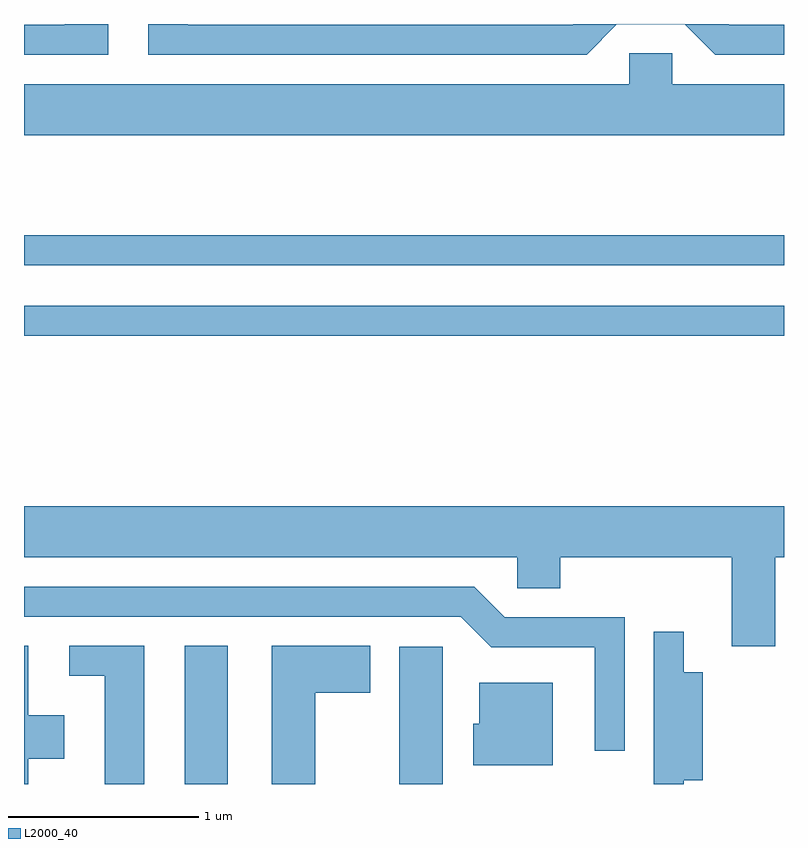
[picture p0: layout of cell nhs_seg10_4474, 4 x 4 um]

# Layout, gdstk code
import gdstk
lib = gdstk.Library(unit=1e-6, precision=1e-09)
def R(c, l, rs):  # rectangles x0, y0, x1, y1
    for r in rs: c.add(gdstk.rectangle(r[:2], r[2:], *l))
def P(c, l, *ps):  # polygons
    for p in ps: c.add(gdstk.Polygon(p, *l))
L2000_40 = (2000, 40)

nhs_seg10_4474 = lib.new_cell('nhs_seg10_4474')
R(nhs_seg10_4474, L2000_40, [(318.456,2090.522,318.684,2091.249), (319.586,2090.522,319.814,2091.244), (317.611,2092.881,321.611,2093.039), (317.611,2093.251,321.611,2093.409)])
P(nhs_seg10_4474, L2000_40, [(318.054,2094.522),(317.826,2094.522),(317.826,2094.519),(317.611,2094.519),(317.611,2094.361),(318.054,2094.361)],
  [(320.732,2094.521),(321.089,2094.521),(321.249,2094.361),(321.611,2094.361),(321.611,2094.519),(321.322,2094.519),(321.319,2094.522),(320.502,2094.522),(320.499,2094.519),(318.474,2094.519),(318.474,2094.522),(318.266,2094.522),(318.266,2094.361),(320.572,2094.361)],
  [(321.611,2094.204),(321.024,2094.204),(321.024,2094.369),(320.796,2094.369),(320.796,2094.204),(317.611,2094.204),(317.611,2093.936),(321.611,2093.936)],
  [(321.564,2091.716),(321.611,2091.716),(321.611,2091.984),(317.611,2091.984),(317.611,2091.716),(320.206,2091.716),(320.206,2091.551),(320.434,2091.551),(320.434,2091.716),(321.336,2091.716),(321.336,2091.246),(321.564,2091.246)],
  [(320.774,2091.399),(320.142,2091.399),(319.982,2091.559),(317.611,2091.559),(317.611,2091.401),(319.909,2091.401),(320.069,2091.241),(320.616,2091.241),(320.616,2090.698),(320.774,2090.698)],
  [(321.084,2090.541),(321.184,2090.541),(321.184,2091.109),(321.084,2091.109),(321.084,2091.323),(320.926,2091.323),(320.926,2090.522),(321.084,2090.522)],
  [(318.244,2091.249),(317.848,2091.249),(317.848,2091.091),(318.036,2091.091),(318.036,2090.522),(318.244,2090.522)],
  [(319.144,2091.001),(319.434,2091.001),(319.434,2091.249),(318.916,2091.249),(318.916,2090.522),(319.144,2090.522)],
  [(317.634,2090.656),(317.824,2090.656),(317.824,2090.884),(317.634,2090.884),(317.634,2091.249),(317.611,2091.249),(317.611,2090.522),(317.634,2090.522)],
  [(320.394,2091.054),(320.006,2091.054),(320.006,2090.839),(319.976,2090.839),(319.976,2090.621),(320.394,2090.621)])

lib.write_gds('nhs_seg10_4474.gds')
